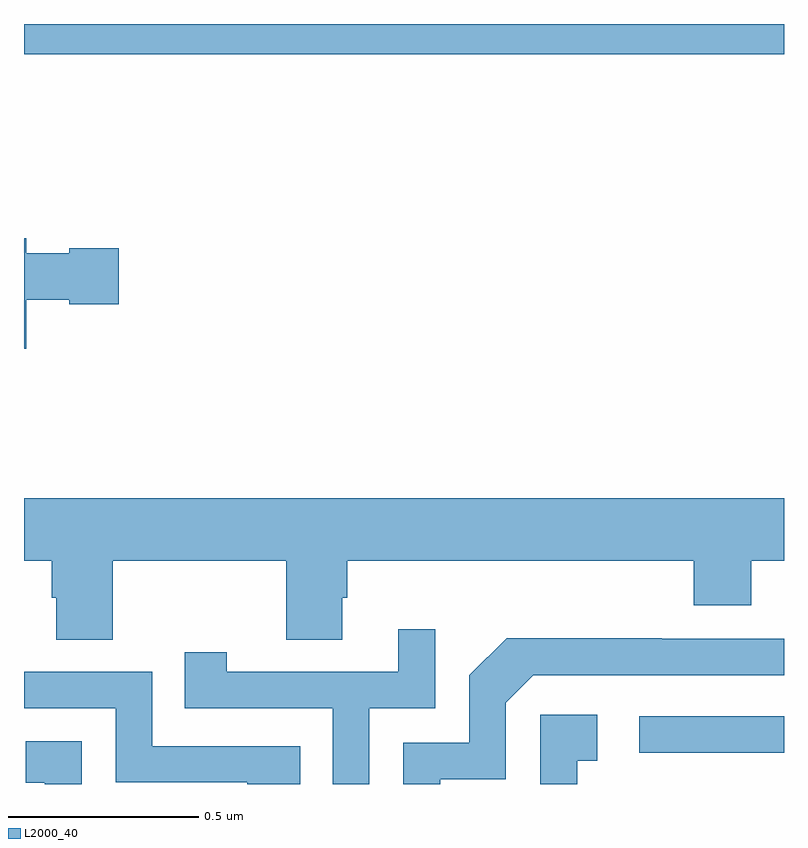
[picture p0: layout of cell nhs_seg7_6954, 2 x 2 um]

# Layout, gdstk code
import gdstk
lib = gdstk.Library(unit=1e-6, precision=1e-09)
def R(c, l, rs):  # rectangles x0, y0, x1, y1
    for r in rs: c.add(gdstk.rectangle(r[:2], r[2:], *l))
def P(c, l, *ps):  # polygons
    for p in ps: c.add(gdstk.Polygon(p, *l))
L2000_40 = (2000, 40)

nhs_seg7_6954 = lib.new_cell('nhs_seg7_6954')
R(nhs_seg7_6954, L2000_40, [(206.619,1028.082,207,1028.178), (205,1029.92,207,1030)])
P(nhs_seg7_6954, L2000_40, [(205.006,1029.275),(205.119,1029.275),(205.119,1029.263),(205.249,1029.263),(205.249,1029.41),(205.119,1029.41),(205.119,1029.397),(205.006,1029.397),(205.006,1029.436),(205,1029.436),(205,1029.146),(205.006,1029.146)],
  [(205.233,1028.588),(205.69,1028.588),(205.69,1028.38),(205.837,1028.38),(205.837,1028.49),(205.85,1028.49),(205.85,1028.588),(206.762,1028.588),(206.762,1028.471),(206.914,1028.471),(206.914,1028.588),(207,1028.588),(207,1028.752),(205,1028.752),(205,1028.588),(205.073,1028.588),(205.073,1028.49),(205.085,1028.49),(205.085,1028.38),(205.233,1028.38)],
  [(205.908,1028.199),(206.082,1028.199),(206.082,1028.407),(205.985,1028.407),(205.985,1028.295),(205.534,1028.295),(205.534,1028.347),(205.423,1028.347),(205.423,1028.199),(205.812,1028.199),(205.812,1028),(205.908,1028)],
  [(206.095,1028.013),(206.268,1028.013),(206.268,1028.214),(206.34,1028.286),(207,1028.286),(207,1028.382),(206.678,1028.382),(206.678,1028.384),(206.27,1028.384),(206.172,1028.286),(206.172,1028.109),(205.998,1028.109),(205.998,1028),(206.095,1028)],
  [(205.727,1028.1),(205.338,1028.1),(205.338,1028.295),(205,1028.295),(205,1028.199),(205.242,1028.199),(205.242,1028.004),(205.587,1028.004),(205.587,1028),(205.727,1028)],
  [(206.456,1028.061),(206.509,1028.061),(206.509,1028.182),(206.358,1028.182),(206.358,1028),(206.456,1028)],
  [(205.152,1028.113),(205.005,1028.113),(205.005,1028.003),(205.054,1028.003),(205.054,1028),(205.152,1028)])

lib.write_gds('nhs_seg7_6954.gds')
